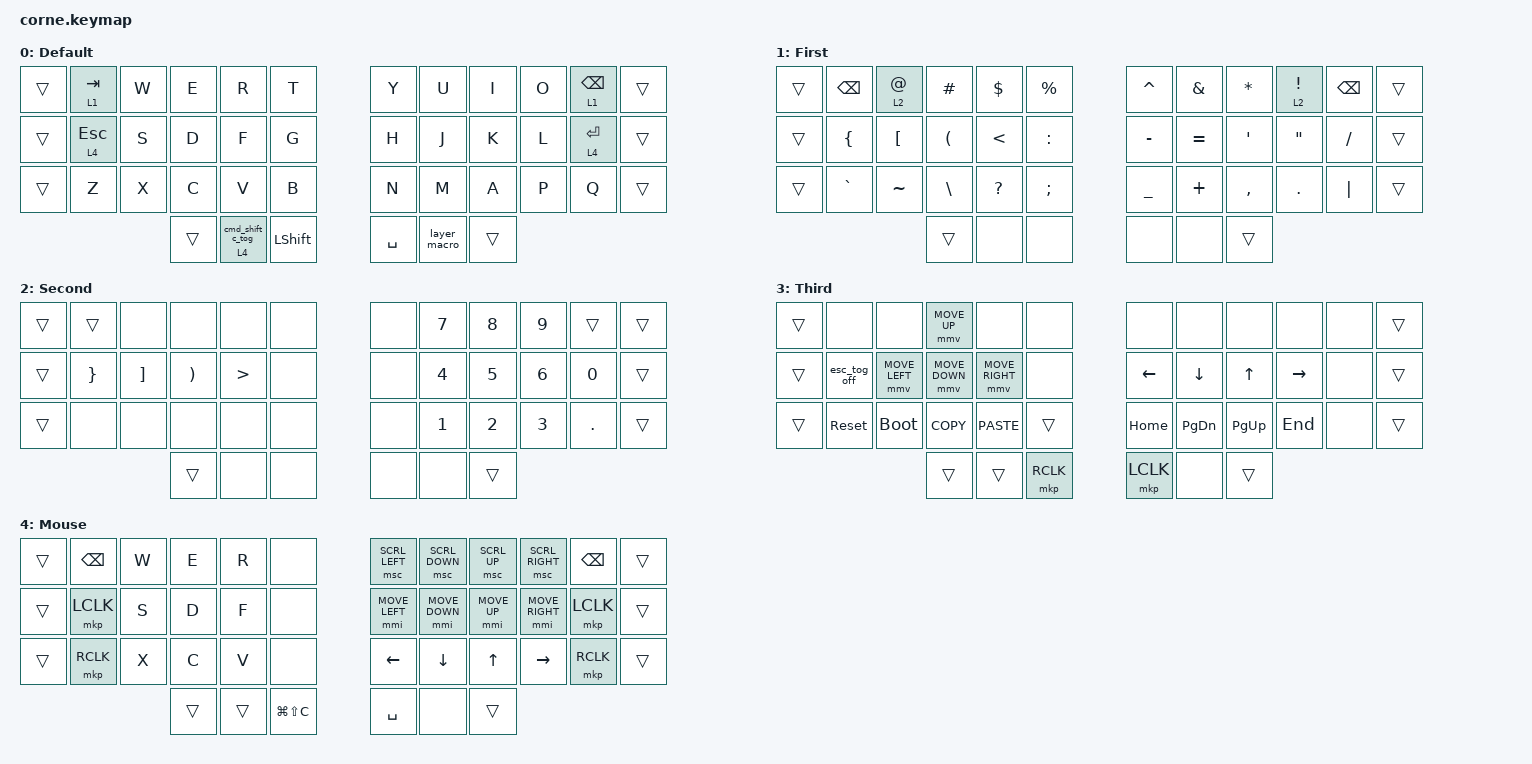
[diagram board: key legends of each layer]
/*
 * Copyright (c) 2020 The ZMK Contributors
 *
 * SPDX-License-Identifier: MIT
 */

#include <behaviors.dtsi>
#include <dt-bindings/zmk/keys.h>
#include <dt-bindings/zmk/pointing.h>
#include <behaviors/inertia.dtsi>

#define ZMK_POINTING_DEFAULT_MOVE_VAL 800  // default: 600
#define ZMK_POINTING_DEFAULT_SCRL_VAL 50    // default: 10

#define DEFAULT 0
#define FIRST 1
#define SECOND 2
#define THIRD 3

&mmv {
    time-to-max-speed-ms = <200>;  // Time (in ms) to ramp up to full speed
    acceleration-exponent = <1>;   // 1 = linear, 2 = exponential acceleration
    delay-ms = <0>;                // Small pause before movement begins (usually 0)
};

&msc {
    time-to-max-speed-ms = <400>;  // Time (in ms) to reach max scroll speed
    acceleration-exponent = <1>;   // 0 = completely constant scroll speed
    delay-ms = <0>;
};

&mmi {
    max-speed = <32>;
    friction = <16>;
    delay-ms = <0>;
    interval-ms = <10>;
};

/ {
    behaviors {
        mhp: behavior_mo_tap {
            compatible = "zmk,behavior-hold-tap";
            label = "mo_tog";
            #binding-cells = <2>;
            flavor = "hold-preferred";
            tapping-term-ms = <200>;
            bindings = <&mo>, <&kp>;
        };

        macro_tap_hold: macro_tap_hold {
            compatible = "zmk,behavior-hold-tap";
            #binding-cells = <2>;
            flavor = "tap-preferred";       // Prevents accidental hold triggers while typing quickly
            tapping-term-ms = <200>;        // Must hold for 200ms to trigger the macro
            bindings = <&layer_macro>, <&kp>; // Hold executes macro, Tap executes raw keypress
        };

        macro_layer_ht: macro_layer_hold_tap {
            compatible = "zmk,behavior-hold-tap";
            #binding-cells = <2>;
            flavor = "tap-preferred"; // or "hold-preferred", "balanced", etc.
            tapping-term-ms = <200>;
            bindings = <&mo>, <&cmd_shift_c_tog>;
        };

        tog_on: toggle_layer_on_only {
            compatible = "zmk,behavior-toggle-layer";
            #binding-cells = <1>;
            toggle-mode = "on";
        };

        tog_off: toggle_layer_off_only {
            compatible = "zmk,behavior-toggle-layer";
            #binding-cells = <1>;
            toggle-mode = "off";
        };
    };

    macros {
        cmd_shift_c_tog: cmd_shift_c_tog {
            compatible = "zmk,behavior-macro";
            #binding-cells = <0>;
            wait-ms = <10>;
            tap-ms = <10>;
            bindings
                = <&macro_press &kp LGUI &kp LSHIFT>
                , <&macro_tap &kp C>
                , <&macro_release &kp LGUI &kp LSHIFT>
                , <&macro_tap &tog_on 4>;   // Guarantees layer 4 is activated
        };

        esc_tog_off: esc_tog_off {
            compatible = "zmk,behavior-macro";
            #binding-cells = <0>;
            wait-ms = <10>;
            tap-ms = <10>;
            bindings
                = <&macro_tap &kp ESC>
                , <&macro_tap &tog_off 4>;  // Guarantees layer 4 is deactivated
        };

        layer_macro: layer_macro {
            compatible = "zmk,behavior-macro";
            #binding-cells = <0>;
            wait-ms = <0>;
            tap-ms = <10>;
            bindings
                // --- ENTER: Switch to layer 1 and press CMD+SHIFT+C ---
                = <&macro_press &mo 4>
                , <&macro_press &kp LGUI &kp LSHFT &kp C>
                , <&macro_release &kp LGUI &kp LSHFT &kp C>

                // --- PAUSE: Hold here while the key is pressed ---
                , <&macro_pause_for_release>

                // --- EXIT: Release layer 1 and tap ESC ---
                , <&macro_release &mo 4>
                , <&macro_press &kp ESC>
                , <&macro_release &kp ESC>;
        };
        cmd_shift_c_wrap: cmd_shift_c_wrap {
            compatible = "zmk,behavior-macro-one-param";
            #binding-cells = <1>;
            wait-ms = <10>;
            tap-ms = <10>;
            bindings
                = <&macro_tap &kp LG(LS(C))>
                , <&macro_param_1to1>
                , <&macro_tap &kp MACRO_PLACEHOLDER>
                , <&macro_tap &kp ESC>
                ;
        };
    };

    combos {
        compatible = "zmk,combos";

        combo_lgui {
            timeout-ms = <50>;
            key-positions = <2 3>;
            bindings = <&kp LGUI>;
            layers = <0>;
        };

        combo_lctl {
            timeout-ms = <50>;
            key-positions = <14 15>;
            bindings = <&kp LCTRL>;
            layers = <0>;
        };

        combo_lalt {
            timeout-ms = <50>;
            key-positions = <26 27>;
            bindings = <&kp LALT>;
            layers = <0>;
        };

        combo_lalt_gui {
            timeout-ms = <50>;
            key-positions = <15 16>;
            bindings = <&kp LG(LALT)>;
            layers = <0>;
        };

        combo_rgui {
            timeout-ms = <50>;
            key-positions = <8 9>;
            bindings = <&kp RGUI>;
            layers = <0>;
        };

        combo_rctrl {
            timeout-ms = <50>;
            key-positions = <20 21>;
            bindings = <&kp RCTRL>;
            layers = <0>;
        };

        combo_ratl {
            timeout-ms = <50>;
            key-positions = <32 33>;
            bindings = <&kp RALT>;
            layers = <0>;
        };

        combo_ratl_gui {
            timeout-ms = <50>;
            key-positions = <19 20>;
            bindings = <&kp RG(RALT)>;
            layers = <0>;
        };

        combo_rnum {
            timeout-ms = <50>;
            key-positions = <9 10>;
            bindings = <&mo 2>;
            layers = <0>;
        };

        combo_lnum {
            timeout-ms = <50>;
            key-positions = <1 2>;
            bindings = <&mo 2>;
            slow-release;
            layers = <0>;
        };
    };

    keymap {
        compatible = "zmk,keymap";
        label = "Zerosprey42";

        default_layer {
            label = "Default";
            bindings = <
                &trans  &mhp 1 TAB  &kp W  &kp E  &kp R  &kp T      &kp Y  &kp U  &kp I  &kp O  &mhp 1 BSPC  &trans
                &trans  &mhp 4 ESC  &kp S  &kp D  &kp F  &kp G      &kp H  &kp J  &kp K  &kp L  &mhp 4 RET   &trans
                &trans  &kp Z       &kp X  &kp C  &kp V  &kp B      &kp N  &kp M  &kp A  &kp P  &kp Q        &trans
                    &trans            &macro_layer_ht 4 0  &kp LSHIFT            &kp SPACE  &layer_macro      &trans
            >;
        };

        first_later {
            label = "First";
            bindings = <
                &trans  &kp BSPC   &mhp 2 AT  &kp HASH  &kp DLLR   &kp PRCNT      &kp CARET  &kp AMPS   &kp STAR   &mhp 2 EXCL  &kp BSPC  &trans
                &trans  &kp LBRC   &kp LBKT   &kp LPAR  &kp LT     &kp COLON      &kp MINUS  &kp EQUAL  &kp SQT    &kp DQT      &kp FSLH  &trans
                &trans  &kp GRAVE  &kp TILDE  &kp BSLH  &kp QMARK  &kp SEMI       &kp UNDER  &kp PLUS   &kp COMMA  &kp DOT      &kp PIPE  &trans
                    &trans  &none   &none       &none   &none   &trans
            >;
        };

        second_later {
            label = "Second";
            bindings = <
                &trans  &trans    &none     &none     &none   &none      &none  &kp N7  &kp N8  &kp N9  &trans   &trans
                &trans  &kp RBRC  &kp RBKT  &kp RPAR  &kp GT  &none      &none  &kp N4  &kp N5  &kp N6  &kp N0   &trans
                &trans  &none     &none     &none     &none   &none      &none  &kp N1  &kp N2  &kp N3  &kp DOT  &trans
                    &trans  &none   &none       &none   &none   &trans
            >;
        };

        third_later {
            label = "Third";
            bindings = <
                &trans  &none         &none           &mmv MOVE_UP    &none            &none       &none     &none      &none      &none      &none  &trans
                &trans  &esc_tog_off  &mmv MOVE_LEFT  &mmv MOVE_DOWN  &mmv MOVE_RIGHT  &none       &kp LEFT  &kp DOWN   &kp UP     &kp RIGHT  &none  &trans
                &trans  &sys_reset    &bootloader     &kp K_COPY      &kp K_PASTE      &trans      &kp HOME  &kp PG_DN  &kp PG_UP  &kp END    &none  &trans
                    &trans     &trans     &mkp RCLK      &mkp LCLK  &none      &trans
            >;
        };

        mouse_layer {
            label = "Mouse";
            bindings = <
                &trans  &kp BSPC    &kp W          &kp E  &kp R  &none      &msc SCRL_LEFT  &msc SCRL_DOWN  &msc SCRL_UP  &msc SCRL_RIGHT  &kp BSPC     &trans
                &trans  &mkp LCLK   &kp S          &kp D  &kp F  &none      &mmi MOVE_LEFT  &mmi MOVE_DOWN  &mmi MOVE_UP  &mmi MOVE_RIGHT  &mkp LCLK    &trans
                &trans  &mkp RCLK   &kp X          &kp C  &kp V  &none      &kp LEFT        &kp DOWN        &kp UP        &kp RIGHT        &mkp RCLK    &trans
                    &trans  &trans  &kp LG(LS(C))  &kp SPACE   &none   &trans
            >;
        };
    };
};
